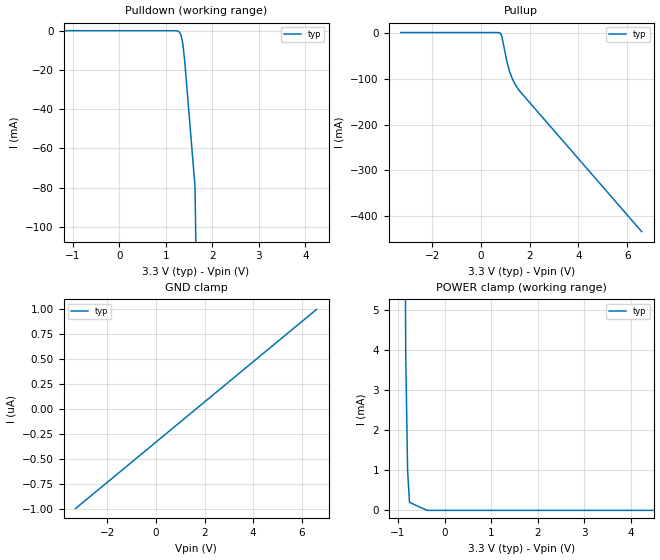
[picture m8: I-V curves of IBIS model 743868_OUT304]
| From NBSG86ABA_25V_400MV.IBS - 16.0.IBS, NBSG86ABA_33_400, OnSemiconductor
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| COPYRIGHT(C) MENTOR GRAPHICS CORPORATION 2002 ALL
| RIGHTS RESERVED. THIS WORK CONTAINS PROPRIETARY
| INFORMATION WHICH IS THE PROPERTY OF MENTOR GRAPHICS
| CORPORATION OR ITS LICENSORS. USE OF THESE MATERIALS
| IS SUBJECT TO THE TERMS BELOW.
| USE: MENTOR GRAPHICS HAS LICENSED IBIS MODELS TO
| SPECIFIC INTEGRATED CIRCUIT SUPPLIERS ("IC VENDORS")
| FOR USE AND DISTRIBUTION AS FOLLOWS: EACH IC VENDOR
| MAY USE IBIS MODELS, AND DISTRIBUTE THEM TO IC VENDOR'S
| CUSTOMERS TO USE, SOLELY FOR DEVELOPING PRINTED
| CIRCUIT BOARD DESIGNS. NO OTHER USE OR DISTRIBUTION
| OF THESE MATERIALS IS PERMITTED.
| Model Application Version 1.89 2/18/99.
[Model] 743868_OUT304
Model_type Output_ECL
Vref=1.300V
Rref=50.00ohms
Cref=0.000F
Vmeas=2.000V
C_comp 500.0fF NA NA
| variable typ   min   max
[Voltage Range] 3.300V NA NA
[POWER Clamp Reference] 3.300V NA NA
[Pullup Reference] 3.300V NA NA
[Pulldown Reference] 3.300V NA NA
[GND Clamp Reference] 0.000V NA NA
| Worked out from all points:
|   POWER clamp passes 1 mA (typ) near -0.79 V on its own axis
[GND Clamp]
-3.3V     -1uA       NA         NA
6.6V      1uA        NA         NA
[Pulldown]
-3.3V     0A         NA         NA
1.202V    0A         NA         NA
1.263V    -200uA     NA         NA
1.283V    -500uA     NA         NA
1.324V    -2mA       NA         NA
1.364V    -6.3mA     NA         NA
1.405V    -15.1mA    NA         NA
1.628V    -79.5mA    NA         NA
6.6V      -7.979A    NA         NA
[Pullup]
-3.3V     0A         NA         NA
686mV     0A         NA         NA
746mV     -300uA     NA         NA
787mV     -1.3mA     NA         NA
848mV     -7.1mA     NA         NA
1.071V    -65.6mA    NA         NA
1.172V    -84.7mA    NA         NA
1.253V    -96.5mA    NA         NA
1.354V    -108.2mA   NA         NA
1.456V    -117.6mA   NA         NA
1.577V    -126.7mA   NA         NA
6.6V      -433mA     NA         NA
[POWER Clamp]
-3.3V     606.2mA    NA         NA
-834mV    3.9mA      NA         NA
-794mV    1mA        NA         NA
-753mV    200uA      NA         NA
-376.5mV  0A         NA         NA
6.6V      0A         NA         NA
[Ramp]
| variable typ min max
dV/dt_r 268.0m/38.78p NA NA
dV/dt_f 268.0m/31.06p NA NA
R_load = 50.00Ohms
